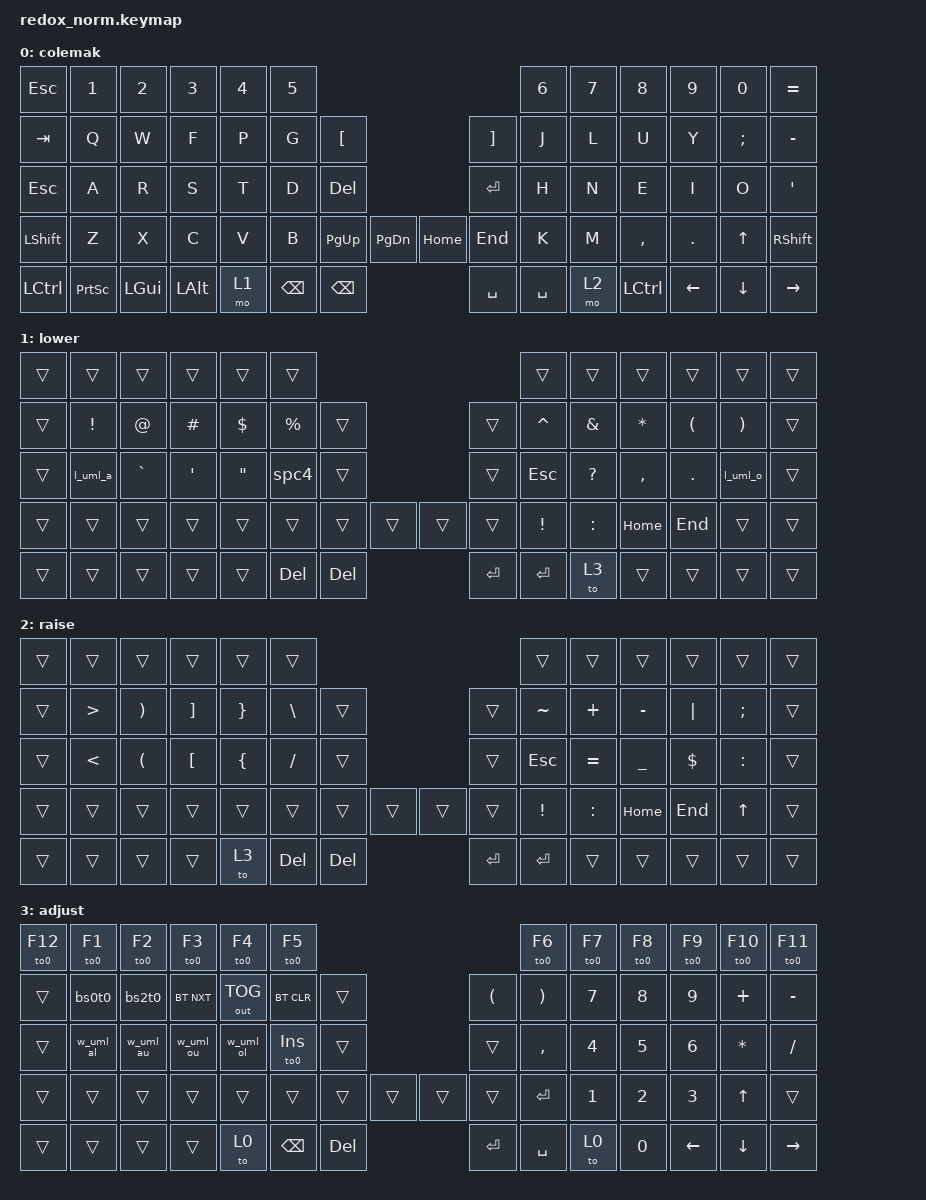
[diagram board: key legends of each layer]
/*
 * Copyright (c) 2021 The ZMK Contributors
 *
 * SPDX-License-Identifier: MIT
 */

#include <behaviors.dtsi>
#include <dt-bindings/zmk/keys.h>
#include <dt-bindings/zmk/bt.h>
#include <dt-bindings/zmk/ext_power.h>
#include <dt-bindings/zmk/outputs.h>

CONFIG_ZMK_KSCAN_DEBOUNCE_PRESS_MS=10
CONFIG_ZMK_KSCAN_DEBOUNCE_RELEASE_MS=10

/ {
    behaviors {
        l_uml_a: ac_uml_a {
            compatible = "zmk,behavior-macro";
            #binding-cells = <0>;
            bindings
                = <&macro_tap &kp RA(RS(DQT))>
                , <&macro_tap &kp A>
                ;
        };
        l_uml_o: ac_uml_o {
            compatible = "zmk,behavior-macro";
            #binding-cells = <0>;
            bindings
                = <&macro_tap &kp RA(RS(DQT))>
                , <&macro_tap &kp O>
            ;
        };
        w_uml_al: ac_uml_al {
            compatible = "zmk,behavior-macro";
            #binding-cells = <0>;
            bindings
                = <&macro_press &kp LALT>
                , <&macro_tap &kp KP_N0 &kp KP_N2 &kp KP_N2 &kp KP_N8>
                , <&macro_release &kp LALT>
                , <&macro_tap &to 0>
                ;
        };
        w_uml_au: ac_uml_au {
            compatible = "zmk,behavior-macro";
            #binding-cells = <0>;
            bindings
                = <&macro_press &kp LALT>
                , <&macro_tap &kp KP_N0 &kp KP_N1 &kp KP_N9 &kp KP_N6>
                , <&macro_release &kp LALT>
                , <&macro_tap &to 0>
                ;
        };
        w_uml_ol: ac_uml_ol {
            compatible = "zmk,behavior-macro";
            #binding-cells = <0>;
            bindings
                = <&macro_press &kp LALT>
                , <&macro_tap &kp KP_N0 &kp KP_N2 &kp KP_N4 &kp KP_N6>
                , <&macro_release &kp LALT>
                , <&macro_tap &to 0>
                ;
        };
        w_uml_ou: ac_uml_ou {
            compatible = "zmk,behavior-macro";
            #binding-cells = <0>;
            bindings
                = <&macro_press &kp LALT>
                , <&macro_tap &kp KP_N0 &kp KP_N2 &kp KP_N1 &kp KP_N4>
                , <&macro_release &kp LALT>
                , <&macro_tap &to 0>
                ;
        };
        spc4: spc4 {
            compatible = "zmk,behavior-macro";
            #binding-cells = <0>;
            bindings
                = <&macro_tap &kp SPACE &kp SPACE &kp SPACE &kp SPACE>
                ;
        };
        bs0t0: bs0t0 {
            compatible = "zmk,behavior-macro";
            #binding-cells = <0>;
            bindings
                = <&macro_tap &bt BT_SEL 0>
                , <&macro_tap &to 0>
                ;
        };
        bs1t0: bs1t0 {
            compatible = "zmk,behavior-macro";
            #binding-cells = <0>;
            bindings
                = <&macro_tap &bt BT_SEL 1>
                , <&macro_tap &to 0>
                ;
        };
        bs2t0: bs2t0 {
            compatible = "zmk,behavior-macro";
            #binding-cells = <0>;
            bindings
                = <&macro_tap &bt BT_SEL 2>
                , <&macro_tap &to 0>
                ;
        };
        to0: to0 {
            compatible = "zmk,behavior-macro-one-param";
            #binding-cells = <1>;
            bindings
                = <&macro_param_1to1>
                , <&macro_tap &kp MACRO_PLACEHOLDER>
                , <&macro_tap &to 0>
                ;
        };

    };
};

/ {
    keymap {
        compatible =  "zmk,keymap" ;
/*
        qwerty {
// -------------------------------------------------------------------------------------------------------------------------
// | ESC   |  1    |  2  |  3  |  4  |  5  |                   ---                |  6  |  7  |  8   |  9   |  0   |   =   |
// | TAB   |  Q    |  W  |  E  |  R  |  T  |   [   |           ---        |  ]    |  Y  |  U  |  I   |  O   |  P   |   -   |
// | ESC   |  A    |  S  |  D  |  f  |  G  | DEL   |           ---        | RET   |  H  |  J  |  K   |  L   |  :   | SHIFT |
// | SHIFT |  Z    |  X  |  C  |  V  |  B  | PG_UP | PG_DOWN | --- | HOME | END   |  N  |  M  |  ,   |  .   |  UP  |   '   |
// | CRTL  | PSCRN | GUI | ALT |   LOWER   | RET   | DEL     | --- | BKSP | SPACE |   RAISE   | CTRL | LEFT | DOWN | RIGHT |
            bindings = <
   &kp ESC    &kp N1     &kp N2    &kp N3  &kp N4   &kp N5                                           &kp N6  &kp N7  &kp N8     &kp N9    &kp N0    &kp EQUAL
   &kp TAB    &kp Q      &kp W     &kp E   &kp R    &kp T  &kp LBKT                        &kp RBKT  &kp Y   &kp U   &kp I      &kp O     &kp P     &kp MINUS
   &kp ESC    &kp A      &kp S     &kp D   &kp F    &kp G  &kp DEL                         &kp RET   &kp H   &kp J   &kp K      &kp L     &kp SEMI  &kp SQT
   &kp LSHFT  &kp Z      &kp X     &kp C   &kp V    &kp B  &kp PG_UP  &kp PG_DN  &kp HOME  &kp END   &kp N   &kp M   &kp COMMA  &kp DOT   &kp UP    &kp RSHFT
   &kp LCTRL  &kp PSCRN  &kp LGUI  &kp LALT     &mo 1      &kp RET    &kp DEL    &kp SPACE &kp SPACE       &mo 2     &kp LCTRL  &kp LEFT  &kp DOWN  &kp RIGHT
            >;

        };
*/
        colemak {
// -------------------------------------------------------------------------------------------------------------------------
// | ESC   |  1    |  2  |  3  |  4  |  5  |                   ---                |  6  |  7  |  8   |  9   |  0    |   =   |
// | TAB   |  Q    |  W  |  F  |  P  |  G  |   [   |           ---        |  ]    |  J  |  L  |  U   |  Y   |  ;    |   -   |
// | ESC   |  A    |  R  |  S  |  T  |  D  | DEL   |           ---        | RET   |  H  |  N  |  E   |  I   |  O    |   '   |
// | SHIFT |  Z    |  X  |  C  |  V  |  B  | PG_UP | PG_DOWN | --- | HOME | END   |  K  |  M  |  ,   |  .   |  UP   | SHIFT |
// | CRTL  | PSCRN | GUI | ALT |   LOWER   | RET   | DEL     | --- | BKSP | SPACE |   RAISE   | CTRL | LEFT | DOWN  | RIGHT |
            bindings = <
   &kp ESC    &kp N1     &kp N2    &kp N3  &kp N4   &kp N5                                            &kp N6  &kp N7  &kp N8     &kp N9    &kp N0    &kp EQUAL
   &kp TAB    &kp Q      &kp W     &kp F   &kp P    &kp G  &kp LBKT                         &kp RBKT  &kp J   &kp L   &kp U      &kp Y     &kp SEMI  &kp MINUS
   &kp ESC    &kp A      &kp R     &kp S   &kp T    &kp D  &kp DEL                          &kp RET   &kp H   &kp N   &kp E      &kp I     &kp O     &kp SQT
   &kp LSHFT  &kp Z      &kp X     &kp C   &kp V    &kp B  &kp PG_UP  &kp PG_DN  &kp HOME   &kp END   &kp K   &kp M   &kp COMMA  &kp DOT   &kp UP    &kp RSHFT
   &kp LCTRL  &kp PSCRN  &kp LGUI  &kp LALT     &mo 1      &kp BKSP   &kp BKSP   &kp SPACE  &kp SPACE       &mo 2     &kp LCTRL  &kp LEFT  &kp DOWN  &kp RIGHT
            >;

        };

        lower {
// --------------------------------------------------------------------------------------------------------------------------
// | ESC   |   1   |  2  |  3  |  4  |  5  |                   ---                |  6  |  7  |  8   |  9   |  0   |   +   |
// | TAB   |   !   |  @  |  #  |  $  |  %  |   [   |           ---        |  ]    |  ^  |  &  |  *   |  (   |  )   |   -   |
// | ESC   |   Ä   |  `  |  '  |  "  | 4sp | DEL   |           ---        | RET   | ESC |  ?  |  ,   |  .   |  Ö   |   '   |
// | SHIFT |   Z   |  X  |  C  |  V  |  B  | PG_UP | PG_DOWN | --- | HOME | END   |  !  |  :  | HOME | END  |  UP  | SHIFT |
// | CRTL  | PSCRN | GUI | ALT |   LOWER   | RET   | DEL     | --- | BKSP | SPACE |   TOADJ   | CTRL | LEFT | DOWN | RIGHT |
            bindings = <
   &trans   &trans    &trans     &trans    &trans    &trans                                        &trans     &trans     &trans     &trans    &trans     &trans
   &trans   &kp EXCL  &kp AT     &kp HASH  &kp DLLR  &kp PRCNT  &trans                     &trans  &kp CARET  &kp AMPS   &kp ASTRK  &kp LPAR  &kp RPAR   &trans
   &trans   &l_uml_a  &kp GRAVE  &kp SQT   &kp DQT   &spc4      &trans                     &trans  &kp ESC    &kp QMARK  &kp COMMA  &kp DOT   &l_uml_o   &trans
   &trans   &trans    &trans     &trans    &trans    &trans     &trans   &trans   &trans   &trans  &kp EXCL   &kp COLON  &kp HOME   &kp END   &trans     &trans
   &trans   &trans    &trans     &trans         &trans          &kp DEL  &kp DEL  &kp RET  &kp RET          &to 3        &trans     &trans    &trans     &trans
            >;
        };

        raise {
// ---------------------------------------------------------------------------------------------------------------------------
// | ESC   |  1    |  2  |  3  |  4  |  5  |                   ---                |  6  |  7  |  8   |  9   |  0   |   +   |
// | TAB   |  >    |  )  |  ]  |  }  |  \  |   [   |           ---        |  ]    |  ~  |  +  |  -   |  |   |  ;   |   '   |
// | ESC   |  <    |  (  |  [  |  {  |  /  | DEL   |           ---        | RET   | ESC |  =  |  _   |  $   |  :   |   '   |
// | SHIFT |  Z    |  X  |  C  |  V  |  B  | PG_UP | PG_DOWN | --- | HOME | END   |  !  |  :  | HOME | END  |  UP  | SHIFT |
// | CRTL  | PSCRN | GUI | ALT |   TOADJ   | RET   | DEL     | --- | BKSP | SPACE |   RAISE   | CTRL | LEFT | DOWN | RIGHT |
            bindings = <
   &trans  &trans  &trans    &trans    &trans    &trans                                       &trans     &trans     &trans     &trans    &trans     &trans
   &trans  &kp GT  &kp RPAR  &kp RBKT  &kp RBRC  &kp BSLH  &trans                     &trans  &kp TILDE  &kp PLUS   &kp MINUS  &kp PIPE  &kp SEMI   &trans
   &trans  &kp LT  &kp LPAR  &kp LBKT  &kp LBRC  &kp FSLH  &trans                     &trans  &kp ESC    &kp EQUAL  &kp UNDER  &kp DLLR  &kp COLON  &trans
   &trans  &trans  &trans    &trans    &trans    &trans    &trans   &trans   &trans   &trans  &kp EXCL   &kp COLON  &kp HOME   &kp END   &kp UP     &trans
   &trans  &trans  &trans    &trans          &to 3         &kp DEL  &kp DEL  &kp RET  &kp RET        &trans          &trans    &trans    &trans     &trans
            >;
       };

        adjust {
// ------------------------------------------------------------------------------------------------------------------------------
// | F12    | F1    | F2  | F3     | F4      | F5     |                   ---                |  F6  |  F7 |  F8 |  F9  |  F10 |  F11  |
// | TAB    | BT1   | BT3 | BT NXT | OUT TGL | BT CLR |   (   |           ---        |  )    |  (   |  7  |  8  |  9   |  +   |   -   |
// | ESC    | ä     |  Ä  |  Ö     |  ö      | INS    |   [   |           ---        |  ]    |  ,   |  4  |  5  |  6   |  *   |   '   |
// | SHIFT  | Z     |  X  |  C     |  V      |  B     | PG_UP | PG_DOWN | --- | HOME | END   |  RET |  1  |  2  |  3   |  UP  | SHIFT |
// | CRTL   | PSCRN | GUI | ALT    |       TODEF      | RET   | DEL     | --- | BKSP | SPACE |   TODEF    |  0  | LEFT | DOWN | RIGHT |
            bindings = <
   &to0 F12  &to0 F1    &to0 F2    &to0 F3     &to0 F4       &to0 F5                                            &to0 F6    &to0 F7  &to0 F8  &to0 F9   &to0 F10      &to0 F11
   &trans    &bs0t0     &bs2t0     &bt BT_NXT  &out OUT_TOG  &bt BT_CLR  &trans                      &kp LPAR   &kp RPAR   &kp N7   &kp N8   &kp N9    &kp PLUS      &kp MINUS
   &trans    &w_uml_al  &w_uml_au  &w_uml_ou   &w_uml_ol     &to0 INS    &trans                      &trans     &kp COMMA  &kp N4   &kp N5   &kp N6    &kp ASTERISK  &kp FSLH
   &trans    &trans     &trans     &trans      &trans        &trans      &trans    &trans   &trans   &trans     &kp RET    &kp N1   &kp N2   &kp N3    &kp UP        &trans
   &trans    &trans     &trans     &trans           &to 0                &kp BKSP  &kp DEL  &kp RET  &kp SPACE         &to 0        &kp N0   &kp LEFT  &kp DOWN      &kp RIGHT
            >;
        };
    };
};
